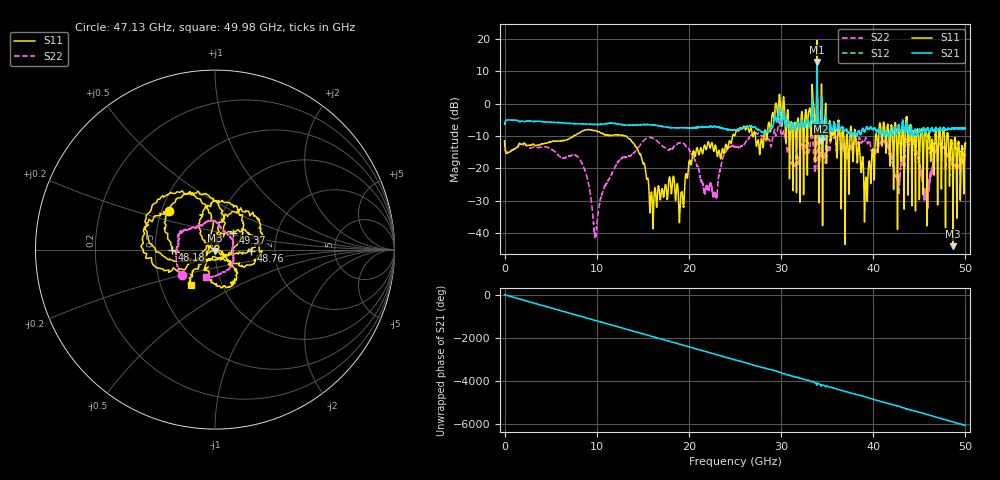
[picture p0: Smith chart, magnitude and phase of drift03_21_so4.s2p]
!Created with skrf (http://scikit-rf.org).
# Hz S RI R 50.0
!freq ReS11 ImS11 ReS21 ImS21 ReS12 ImS12 ReS22 ImS22
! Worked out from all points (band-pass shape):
!   10001 points, 300 kHz to 50 GHz, reference 50 ohm
!   highest |S21| = 12.88 dB at 33.9 GHz (marker M1); lowest = -11.5 dB at 34.32 GHz (marker M2)
!   |S21| within 3 dB of the highest: 33.88979 GHz to 33.90545 GHz (15.66 MHz wide, 0.0462 % of centre)
!   lowest |S11| = -44.1 dB at 48.67 GHz (marker M3), VSWR 1.01, Z = 49.9 - j0.618 ohm
!   |S11| at or under -10 dB: start of sweep to 7.486 GHz; 13.14 GHz to 24.74 GHz (11.6 GHz wide, 61.2 % of centre); 38.09 GHz to 40.26 GHz (2.17 GHz wide, 5.54 % of centre) (the widest 3 of 51)
!   |S22| runs from -41.4 to 5.3 dB; largest |S21 - S12| = 0.34
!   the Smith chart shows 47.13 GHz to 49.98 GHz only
!   S11 on the Smith chart (normalised r, x): 47.13 GHz: 0.55, +0.26; 48.18 GHz: 0.61, -0.00; 48.76 GHz: 1.50, -0.02; 49.37 GHz: 1.20, +0.23; 49.98 GHz: 0.71, -0.30
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300000  -0.2376 -0.1185  0.4679 0.0776  0.4649 0.0787  -0.2333 -0.1248
1.440291e9  0.2102 0.0646  -0.548 -0.0294  -0.5482 -0.0291  0.2111 -0.00439
2.915283e9  -0.212 -0.0878  0.5342 0.0513  0.5346 0.0513  -0.2025 0.0401
4.415274e9  0.2063 0.1322  -0.5218 -0.0423  -0.5221 -0.0419  0.1976 -0.0872
8.33525e9  0.2888 -0.2334  0.1465 0.4658  0.1466 0.4659  -0.073 -0.101
9.850241e9  -0.3621 0.1321  -0.1532 -0.4504  -0.1531 -0.4503  0.00854 0.0025
1.66702e10  0.0274 0.0442  -0.3784 0.254  -0.3782 0.2539  -0.127 -0.2189
2.500015e10  -0.326 -0.0142  -0.2549 -0.2966  -0.2539 -0.2978  -0.213 0.0269
2.895513e10  -0.3233 0.4313  -0.2876 0.3267  -0.2978 0.2908  0.0647 0.2202
3.006512e10  0.3989 0.2653  0.4495 -0.1973  0.4522 -0.1837  0.1731 -0.2978
3.171011e10  -0.0925 0.1857  -0.3602 0.3607  -0.3604 0.3556  0.065 0.1581
3.33351e10  0.6117 -0.8159  0.2446 -0.8398  0.2453 -0.8185  -0.1929 -0.4143
3.38951e10  -2.667 -9.102  -4.317 0.884  -4.023 1.047  0.5289 1.759
3.432009e10  -0.7801 0.00147  -0.1794 0.1965  -0.2408 0.1769  0.1431 -0.0706
4.167005e10  -0.1978 0.3004  0.3143 0.00308  0.3134 0.011  -0.1939 -0.00934
4.712502e10  -0.2564 0.2144  0.2265 0.3254  0.2244 0.3251  -0.1847 -0.1388
4.818001e10  -0.24 -0.00296  0.1581 -0.3843  0.1614 -0.3848  -0.0328 0.1579
4.866501e10  -0.000908 -0.0062  -0.2563 -0.333  -0.2571 -0.3344  0.078 0.0766
4.876001e10  0.2009 -0.00509  -0.3144 -0.2629  -0.3152 -0.2641  0.0956 0.0625
4.937e10  0.1014 0.0938  -0.3462 0.2243  -0.3492 0.2258  0.1043 -0.0542
4.998e10  -0.1328 -0.1962  0.1243 0.3963  0.1221 0.3933  -0.0513 -0.1502
5e10  -0.1223 -0.2142  0.1442 0.3848  0.1447 0.3848  -0.0564 -0.1436
